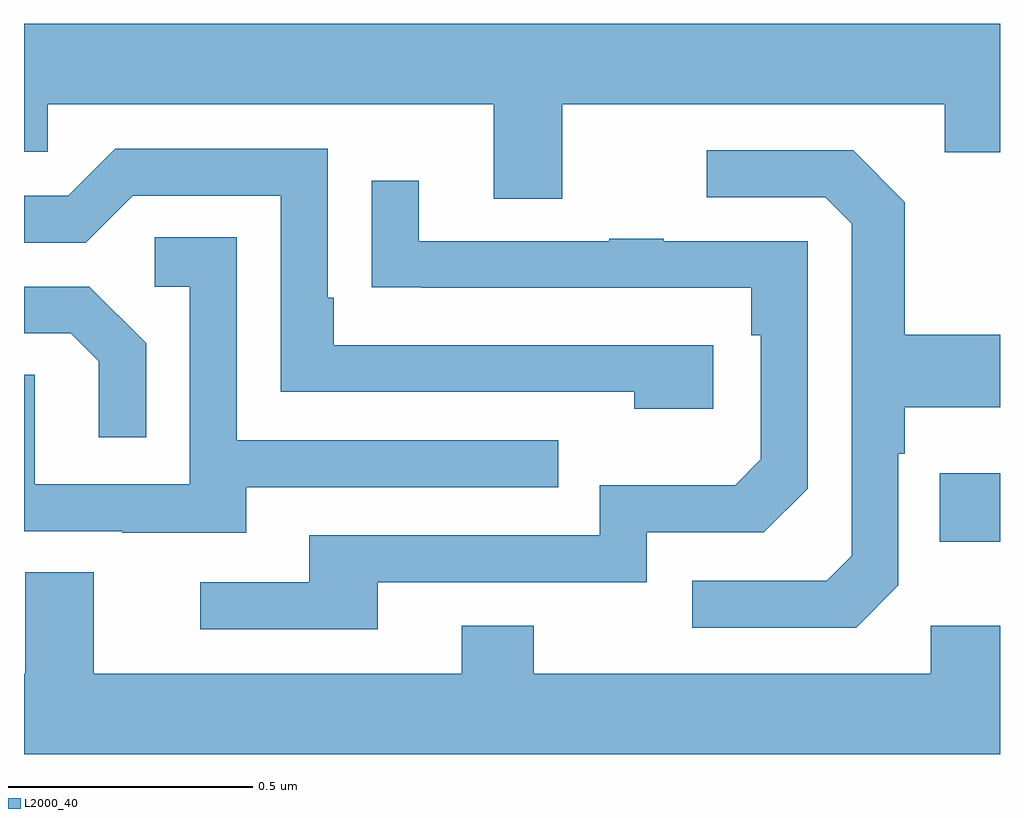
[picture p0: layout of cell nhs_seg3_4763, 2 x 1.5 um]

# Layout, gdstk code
import gdstk
lib = gdstk.Library(unit=1e-6, precision=1e-09)
def R(c, l, rs):  # rectangles x0, y0, x1, y1
    for r in rs: c.add(gdstk.rectangle(r[:2], r[2:], *l))
def P(c, l, *ps):  # polygons
    for p in ps: c.add(gdstk.Polygon(p, *l))
L2000_40 = (2000, 40)

nhs_seg3_4763 = lib.new_cell('nhs_seg3_4763')
R(nhs_seg3_4763, L2000_40, [(171.877,713.339,172,713.479)])
P(nhs_seg3_4763, L2000_40, [(171.103,714.236),(171.887,714.236),(171.887,714.137),(172,714.137),(172,714.4),(170,714.4),(170,714.138),(170.049,714.138),(170.049,714.236),(170.963,714.236),(170.963,714.042),(171.103,714.042)],
  [(171.412,713.742),(170.635,713.742),(170.635,713.839),(170.622,713.839),(170.622,714.144),(170.187,714.144),(170.091,714.048),(170,714.048),(170,713.952),(170.127,713.952),(170.223,714.048),(170.526,714.048),(170.526,713.646),(171.251,713.646),(171.251,713.612),(171.412,713.612)],
  [(171.792,713.25),(171.792,713.519),(171.805,713.519),(171.805,713.615),(172,713.615),(172,713.763),(171.805,713.763),(171.805,714.035),(171.699,714.141),(171.399,714.141),(171.399,714.045),(171.642,714.045),(171.696,713.991),(171.696,713.31),(171.645,713.259),(171.369,713.259),(171.369,713.163),(171.705,713.163)],
  [(170.725,713.256),(171.276,713.256),(171.276,713.358),(171.516,713.358),(171.606,713.448),(171.606,713.955),(171.311,713.955),(171.311,713.96),(171.199,713.96),(171.199,713.955),(170.809,713.955),(170.809,714.079),(170.713,714.079),(170.713,713.86),(170.815,713.86),(170.815,713.859),(171.49,713.859),(171.49,713.762),(171.51,713.762),(171.51,713.508),(171.457,713.455),(171.18,713.455),(171.18,713.352),(170.585,713.352),(170.585,713.256),(170.361,713.256),(170.361,713.16),(170.725,713.16)],
  [(170.455,713.451),(171.095,713.451),(171.095,713.547),(170.436,713.547),(170.436,713.963),(170.268,713.963),(170.268,713.862),(170.34,713.862),(170.34,713.457),(170.022,713.457),(170.022,713.681),(170,713.681),(170,713.361),(170.201,713.361),(170.201,713.357),(170.455,713.357)],
  [(170.25,713.746),(170.134,713.862),(170,713.862),(170,713.766),(170.096,713.766),(170.153,713.709),(170.153,713.553),(170.25,713.553)],
  [(172,713.167),(171.858,713.167),(171.858,713.068),(171.045,713.068),(171.045,713.167),(170.897,713.167),(170.897,713.068),(170.143,713.068),(170.143,713.276),(170.003,713.276),(170.003,713.068),(170,713.068),(170,712.904),(172,712.904)])

lib.write_gds('nhs_seg3_4763.gds')
